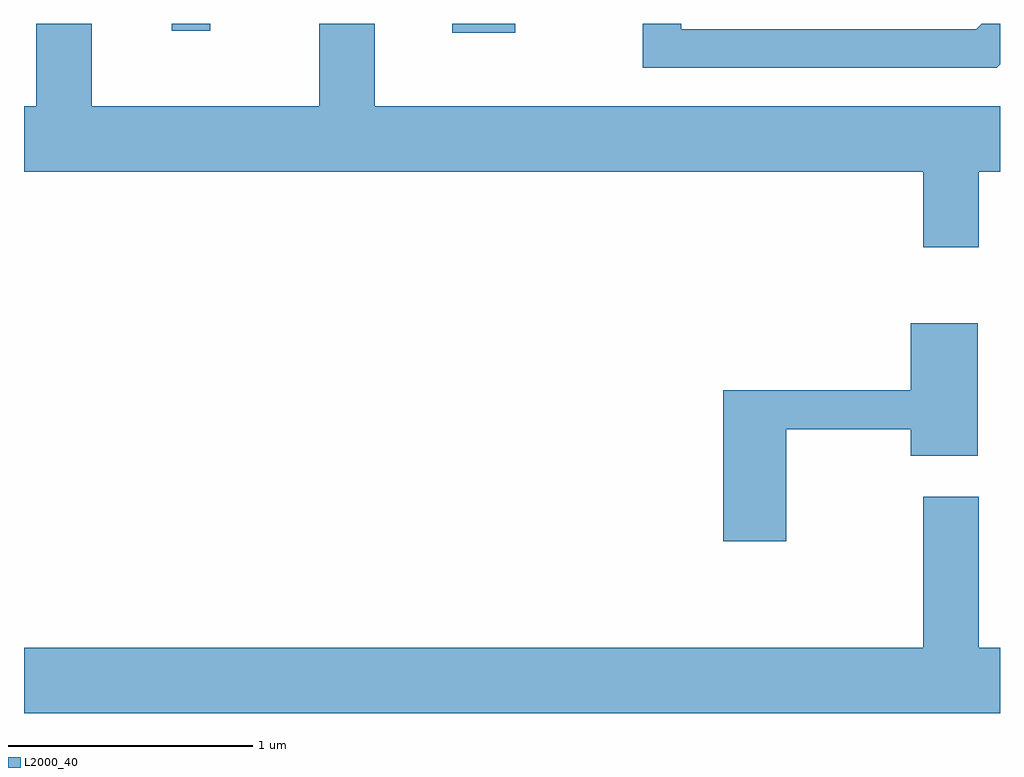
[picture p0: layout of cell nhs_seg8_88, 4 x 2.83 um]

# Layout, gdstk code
import gdstk
lib = gdstk.Library(unit=1e-6, precision=1e-09)
def R(c, l, rs):  # rectangles x0, y0, x1, y1
    for r in rs: c.add(gdstk.rectangle(r[:2], r[2:], *l))
def P(c, l, *ps):  # polygons
    for p in ps: c.add(gdstk.Polygon(p, *l))
L2000_40 = (2000, 40)

nhs_seg8_88 = lib.new_cell('nhs_seg8_88')
R(nhs_seg8_88, L2000_40, [(189.366,1850.306,189.624,1850.342), (188.216,1850.313,188.374,1850.342)])
P(nhs_seg8_88, L2000_40, [(191.524,1849.736),(191.611,1849.736),(191.611,1850.004),(189.049,1850.004),(189.049,1850.342),(188.821,1850.342),(188.821,1850.004),(187.889,1850.004),(187.889,1850.342),(187.661,1850.342),(187.661,1850.004),(187.611,1850.004),(187.611,1849.736),(191.296,1849.736),(191.296,1849.426),(191.524,1849.426)],
  [(191.611,1850.175),(191.611,1850.342),(191.537,1850.342),(191.514,1850.319),(190.304,1850.319),(190.304,1850.342),(190.146,1850.342),(190.146,1850.161),(191.597,1850.161)],
  [(190.734,1848.681),(191.246,1848.681),(191.246,1848.571),(191.519,1848.571),(191.519,1849.114),(191.246,1849.114),(191.246,1848.839),(190.476,1848.839),(190.476,1848.221),(190.734,1848.221)],
  [(191.611,1847.784),(191.524,1847.784),(191.524,1848.404),(191.296,1848.404),(191.296,1847.784),(187.611,1847.784),(187.611,1847.516),(191.611,1847.516)])

lib.write_gds('nhs_seg8_88.gds')
